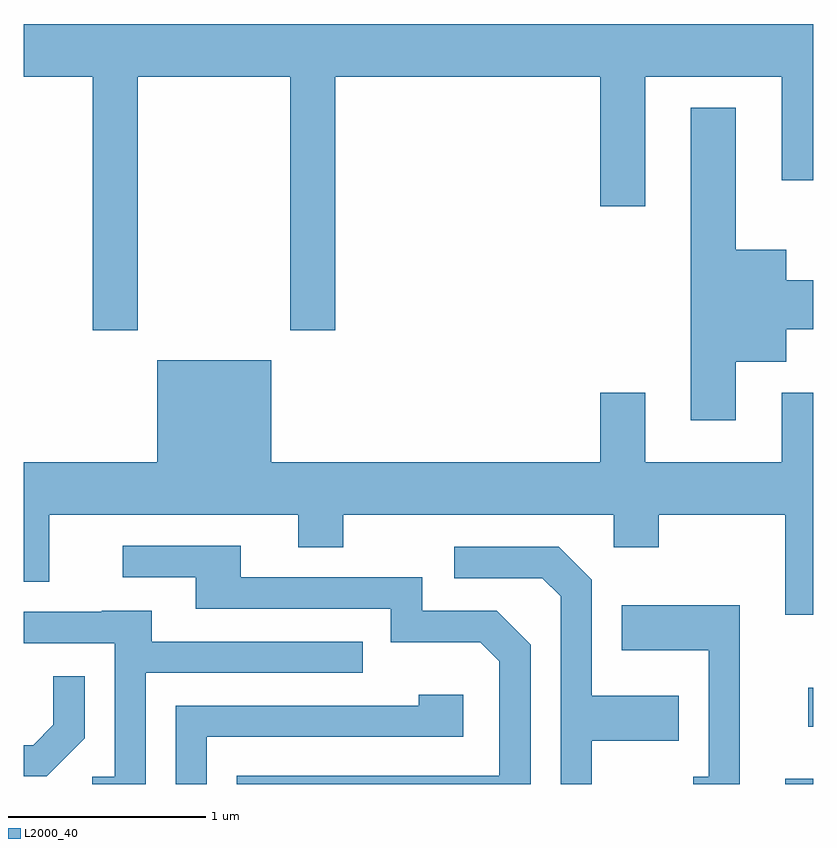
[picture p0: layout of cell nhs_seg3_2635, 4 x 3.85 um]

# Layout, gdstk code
import gdstk
lib = gdstk.Library(unit=1e-6, precision=1e-09)
def R(c, l, rs):  # rectangles x0, y0, x1, y1
    for r in rs: c.add(gdstk.rectangle(r[:2], r[2:], *l))
def P(c, l, *ps):  # polygons
    for p in ps: c.add(gdstk.Polygon(p, *l))
L2000_40 = (2000, 40)

nhs_seg3_2635 = lib.new_cell('nhs_seg3_2635')
R(nhs_seg3_2635, L2000_40, [(265.471,1217.892,265.611,1217.919), (265.586,1218.181,265.611,1218.379)])
P(nhs_seg3_2635, L2000_40, [(262.189,1221.476),(262.961,1221.476),(262.961,1220.191),(263.189,1220.191),(263.189,1221.476),(264.531,1221.476),(264.531,1220.821),(264.759,1220.821),(264.759,1221.476),(265.451,1221.476),(265.451,1220.951),(265.611,1220.951),(265.611,1221.744),(261.611,1221.744),(261.611,1221.476),(261.961,1221.476),(261.961,1220.191),(262.189,1220.191)],
  [(265.219,1220.031),(265.474,1220.031),(265.474,1220.196),(265.611,1220.196),(265.611,1220.444),(265.474,1220.444),(265.474,1220.599),(265.219,1220.599),(265.219,1221.319),(264.991,1221.319),(264.991,1219.736),(265.219,1219.736)],
  [(265.611,1219.874),(265.451,1219.874),(265.451,1219.524),(264.759,1219.524),(264.759,1219.874),(264.531,1219.874),(264.531,1219.524),(262.864,1219.524),(262.864,1220.039),(262.286,1220.039),(262.286,1219.524),(261.611,1219.524),(261.611,1218.916),(261.739,1218.916),(261.739,1219.256),(263.001,1219.256),(263.001,1219.091),(263.229,1219.091),(263.229,1219.256),(264.601,1219.256),(264.601,1219.091),(264.829,1219.091),(264.829,1219.256),(265.471,1219.256),(265.471,1218.751),(265.611,1218.751)],
  [(264.179,1218.597),(264.007,1218.769),(263.629,1218.769),(263.629,1218.939),(262.709,1218.939),(262.709,1219.099),(262.113,1219.099),(262.113,1218.941),(262.481,1218.941),(262.481,1218.781),(263.471,1218.781),(263.471,1218.611),(263.924,1218.611),(264.021,1218.514),(264.021,1217.934),(262.691,1217.934),(262.691,1217.892),(264.179,1217.892)],
  [(264.489,1218.111),(264.929,1218.111),(264.929,1218.339),(264.489,1218.339),(264.489,1218.927),(264.322,1219.094),(263.793,1219.094),(263.793,1218.936),(264.239,1218.936),(264.331,1218.844),(264.331,1217.892),(264.489,1217.892)],
  [(265.239,1218.799),(264.641,1218.799),(264.641,1218.571),(265.081,1218.571),(265.081,1217.929),(265.003,1217.929),(265.003,1217.892),(265.239,1217.892)],
  [(262.229,1218.456),(263.328,1218.456),(263.328,1218.614),(262.259,1218.614),(262.259,1218.769),(262.005,1218.769),(262.005,1218.764),(261.611,1218.764),(261.611,1218.606),(262.071,1218.606),(262.071,1217.929),(261.957,1217.929),(261.957,1217.892),(262.229,1217.892)],
  [(261.919,1218.124),(261.919,1218.438),(261.761,1218.438),(261.761,1218.192),(261.659,1218.089),(261.611,1218.089),(261.611,1217.931),(261.727,1217.931)],
  [(262.539,1218.131),(263.839,1218.131),(263.839,1218.344),(263.611,1218.344),(263.611,1218.289),(262.381,1218.289),(262.381,1217.892),(262.539,1217.892)])

lib.write_gds('nhs_seg3_2635.gds')
